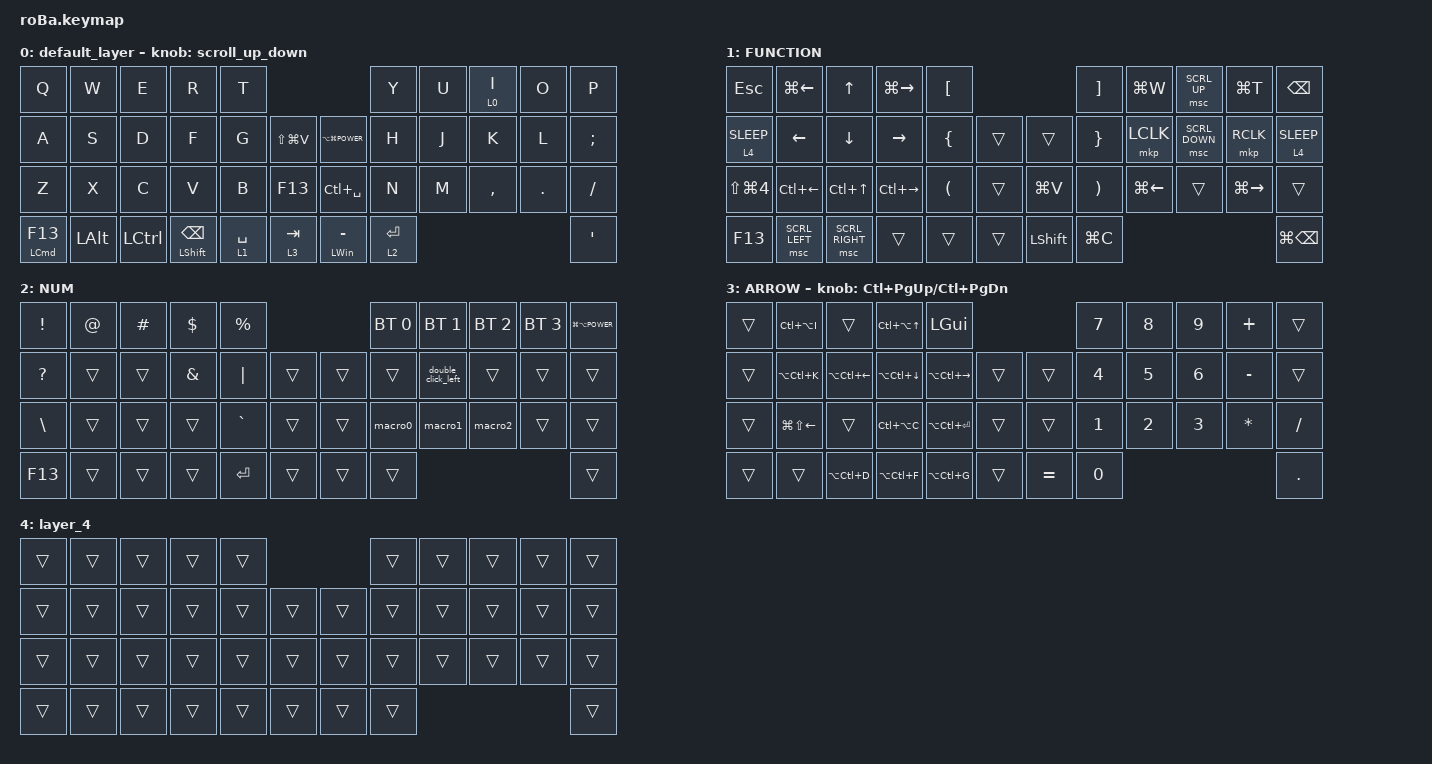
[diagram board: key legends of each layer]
#include <behaviors.dtsi>
#include <dt-bindings/zmk/bt.h>
#include <dt-bindings/zmk/keys.h>
#include <dt-bindings/zmk/pointing.h>

#define MOUSE 1
#define SCROLL 4
#define NUM 6

#undef ZMK_POINTING_DEFAULT_SCRL_VAL

#define ZMK_POINTING_DEFAULT_SCRL_VAL 100

&mt {
    flavor = "balanced";
    quick-tap-ms = <200>;
};

&lt {
    flavor = "balanced";
    quick-tap-ms = <200>;
};

&trackball {
    // automouse-layer = <1>;
    // scroll-layers = <4>;
    // arrows {
    //     layers = <3>;
    //     bindings =
    //         <&kp RIGHT_ARROW>,
    //         <&kp LEFT_ARROW>,
    //         <&kp UP_ARROW>,
    //         <&kp DOWN_ARROW>;
    //     tick = <10>;
    //     wait-ms = <5>;
    //     tap-ms = <5>;
    // };
};

/ {
    combos {
        compatible = "zmk,combos";

        f13 {
            bindings = <&kp F13>;
            key-positions = <13 12>;
        };

        sleep {
            bindings = <&kp K_POWER>;
            key-positions = <18 19>;
        };
    };

    macros {
        macro1: macro1 {
            compatible = "zmk,behavior-macro";
            #binding-cells = <0>;
            bindings = <&kp N1 &kp N1 &kp N1 &kp N1>;
            label = "MACRO1";
        };

        macro2: macro2 {
            compatible = "zmk,behavior-macro";
            #binding-cells = <0>;
            bindings = <&kp M &kp A &kp S &kp A &kp N1 &kp N9 &kp N8 &kp N0>;
            label = "MACRO2";
        };

        macro0: macro0 {
            compatible = "zmk,behavior-macro";
            #binding-cells = <0>;
            bindings = <&kp M &kp A &kp S &kp A &kp G &kp O &kp N &kp T &kp A &kp NUMBER_3>;
            label = "MACRO0";
        };

        double_click_left: double_click_left {
            compatible = "zmk,behavior-macro";
            #binding-cells = <0>;
            bindings = <&mkp LCLK>, <&macro_wait_time 100>, <&mkp LCLK>;
        };

        tap_hold_click: tap_hold_click {
            compatible = "zmk,behavior-hold-tap";
            #binding-cells = <2>;
            flavor = "tap-preferred";
            tapping-term-ms = <200>;
            quick-tap-ms = <125>;
            bindings = <&double_click_left>, <&mkp>;
        };
    };

    behaviors {
        lt_to_layer_0: lt_to_layer_0 {
            compatible = "zmk,behavior-hold-tap";
            label = "LAYER_TAP_TO_0";
            bindings = <&mo>, <&macro0>;

            #binding-cells = <2>;
            tapping-term-ms = <200>;
        };

        scroll_up_down: behavior_sensor_rotate_mouse_wheel_up_down {
            compatible = "zmk,behavior-sensor-rotate";
            #sensor-binding-cells = <0>;
            bindings = <&msc SCRL_DOWN>, <&msc SCRL_UP>;

            // 追加: スクロールのタップ時間を設定 (20ms)

            tap-ms = <20>;
        };

        ht: hold_tap {
            compatible = "zmk,behavior-hold-tap";
            #binding-cells = <2>;
            tapping-term-ms = <120>;
            flavor = "hold-preferred";
            bindings = <&kp>, <&kp>;
        };
    };

    keymap {
        compatible = "zmk,keymap";

        default_layer {
            bindings = <
&kp Q                 &kp W         &kp E             &kp R                     &kp T                                              &kp Y        &kp U  &lt 0 I    &kp O    &kp P
&kp A                 &kp S         &kp D             &kp F                     &kp G        &kp LS(LG(V))    &kp LA(LG(K_POWER))  &kp H        &kp J  &kp K      &kp L    &kp SEMICOLON
&kp Z                 &kp X         &kp C             &kp V                     &kp B        &kp F13          &kp LC(SPACE)        &kp N        &kp M  &kp COMMA  &kp DOT  &kp SLASH
&ht LEFT_COMMAND F13  &kp LEFT_ALT  &kp LEFT_CONTROL  &mt LEFT_SHIFT BACKSPACE  &lt 1 SPACE  &lt 3 TAB        &mt LEFT_WIN MINUS   &lt 2 ENTER                             &kp SINGLE_QUOTE
            >;

            sensor-bindings = <&scroll_up_down>;
        };

        FUNCTION {
            bindings = <
&kp ESC               &kp LG(LEFT)        &kp UP_ARROW      &kp LG(RIGHT)        &kp LEFT_BRACKET                                &kp RIGHT_BRACKET      &kp LG(W)           &msc SCRL_UP    &kp LG(T)            &kp BACKSPACE
&lt 4 C_SLEEP         &kp LEFT_ARROW      &kp DOWN_ARROW    &kp RIGHT_ARROW      &kp LEFT_BRACE        &trans    &trans          &kp RIGHT_BRACE        &mkp LCLK           &msc SCRL_DOWN  &mkp RCLK            &lt 4 C_SLEEP
&kp LS(LG(NUMBER_4))  &kp LC(LEFT_ARROW)  &kp LC(UP_ARROW)  &kp LC(RIGHT_ARROW)  &kp LEFT_PARENTHESIS  &trans    &kp LG(V)       &kp RIGHT_PARENTHESIS  &kp LG(LEFT_ARROW)  &trans          &kp LG(RIGHT_ARROW)  &trans
&kp F13               &msc SCRL_LEFT      &msc SCRL_RIGHT   &trans               &trans                &trans    &kp LEFT_SHIFT  &kp LG(C)                                                                       &kp LG(BACKSPACE)
            >;
        };

        NUM {
            bindings = <
&kp EXCLAMATION  &kp AT_SIGN  &kp HASH  &kp DOLLAR     &kp PERCENT                    &bt BT_SEL 0  &bt BT_SEL 1        &bt BT_SEL 2  &bt BT_SEL 3  &kp LG(LA(C_POWER))
&kp QUESTION     &trans       &trans    &kp AMPERSAND  &kp PIPE     &trans    &trans  &trans        &double_click_left  &trans        &trans        &trans
&kp BACKSLASH    &trans       &trans    &trans         &kp GRAVE    &trans    &trans  &macro0       &macro1             &macro2       &trans        &trans
&kp F13          &trans       &trans    &trans         &kp ENTER    &trans    &trans  &trans                                                        &trans
            >;
        };

        ARROW {
            bindings = <
&trans  &kp LC(LA(I))           &trans                  &kp LC(LA(UP_ARROW))    &kp LEFT_GUI                                  &kp NUMBER_7  &kp NUMBER_8  &kp NUMBER_9  &kp PLUS      &trans
&trans  &kp LA(LC(K))           &kp LA(LC(LEFT_ARROW))  &kp LA(LC(DOWN_ARROW))  &kp LA(LC(RIGHT_ARROW))  &trans    &trans     &kp NUMBER_4  &kp NUMBER_5  &kp NUMBER_6  &kp MINUS     &trans
&trans  &kp LG(LS(LEFT_ARROW))  &trans                  &kp LC(LA(C))           &kp LA(LC(ENTER))        &trans    &trans     &kp NUMBER_1  &kp NUMBER_2  &kp NUMBER_3  &kp ASTERISK  &kp SLASH
&trans  &trans                  &kp LA(LC(D))           &kp LA(LC(F))           &kp LA(LC(G))            &trans    &kp EQUAL  &kp NUMBER_0                                            &kp PERIOD
            >;

            sensor-bindings = <&inc_dec_kp LC(PAGE_UP) LC(PAGE_DOWN)>;
        };

        layer_4 {
            bindings = <
&trans  &trans  &trans  &trans  &trans                    &trans  &trans  &trans  &trans  &trans
&trans  &trans  &trans  &trans  &trans  &trans    &trans  &trans  &trans  &trans  &trans  &trans
&trans  &trans  &trans  &trans  &trans  &trans    &trans  &trans  &trans  &trans  &trans  &trans
&trans  &trans  &trans  &trans  &trans  &trans    &trans  &trans                          &trans
            >;
        };
    };
};
